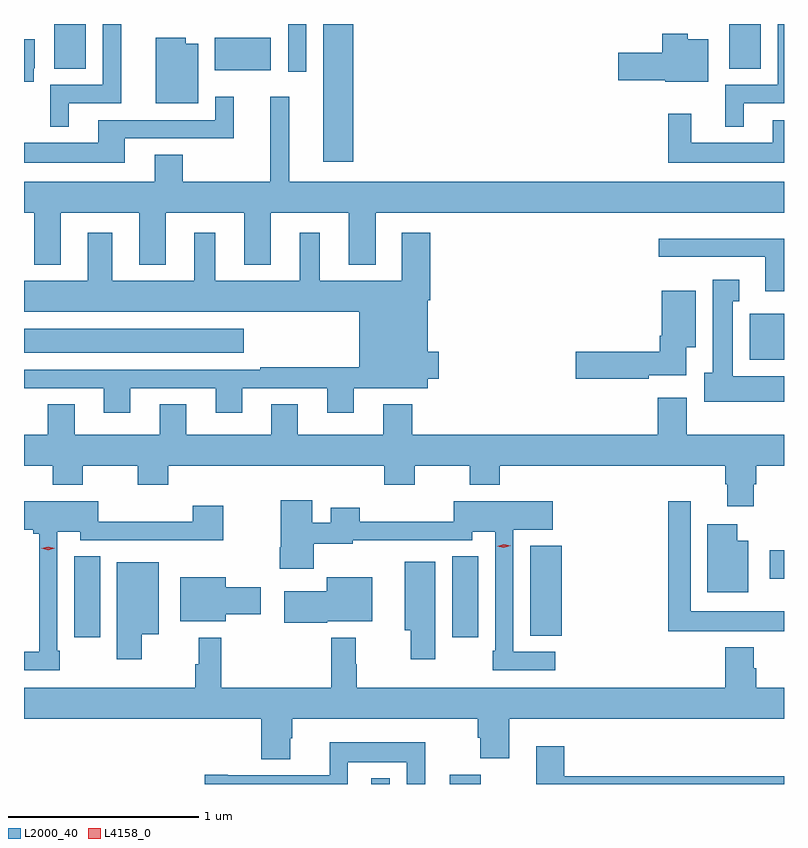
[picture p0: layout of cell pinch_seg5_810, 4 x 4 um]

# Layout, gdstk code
import gdstk
lib = gdstk.Library(unit=1e-6, precision=1e-09)
def R(c, l, rs):  # rectangles x0, y0, x1, y1
    for r in rs: c.add(gdstk.rectangle(r[:2], r[2:], *l))
def P(c, l, *ps):  # polygons
    for p in ps: c.add(gdstk.Polygon(p, *l))
L2000_40 = (2000, 40)
L4158_0 = (4158, 0)

pinch_seg5_810 = lib.new_cell('pinch_seg5_810')
R(pinch_seg5_810, L2000_40, [(768.321,884.389,768.417,884.419), (768.734,884.389,768.898,884.439), (766.757,885.162,766.894,885.587), (768.746,885.162,768.883,885.587), (769.157,885.169,769.324,885.643), (770.417,885.47,770.493,885.618), (770.312,886.622,770.493,886.864), (766.493,886.658,767.65,886.786), (768.068,887.664,768.227,888.389), (767.883,888.138,767.979,888.389), (767.498,888.146,767.791,888.316), (766.652,888.154,766.819,888.389), (770.204,888.154,770.371,888.389)])
P(pinch_seg5_810, L2000_40, [(770.281,887.973),(770.493,887.973),(770.493,888.389),(770.46,888.389),(770.46,888.069),(770.183,888.069),(770.183,887.849),(770.281,887.849)],
  [(766.729,887.973),(767.006,887.973),(767.006,888.389),(766.908,888.389),(766.908,888.069),(766.631,888.069),(766.631,887.849),(766.729,887.849)],
  [(770.095,888.31),(769.986,888.31),(769.986,888.337),(769.853,888.337),(769.853,888.239),(769.62,888.239),(769.62,888.092),(769.869,888.092),(769.869,888.086),(770.095,888.086)],
  [(767.41,888.286),(767.344,888.286),(767.344,888.316),(767.186,888.316),(767.186,887.972),(767.41,887.972)],
  [(766.543,888.156),(766.549,888.156),(766.549,888.31),(766.493,888.31),(766.493,888.086),(766.543,888.086)],
  [(767.023,887.787),(767.597,887.787),(767.597,888.007),(767.499,888.007),(767.499,887.883),(766.883,887.883),(766.883,887.764),(766.493,887.764),(766.493,887.66),(767.023,887.66)],
  [(766.687,887.396),(767.099,887.396),(767.099,887.123),(767.239,887.123),(767.239,887.396),(767.651,887.396),(767.651,887.123),(767.791,887.123),(767.791,887.396),(768.203,887.396),(768.203,887.123),(768.343,887.123),(768.343,887.396),(770.493,887.396),(770.493,887.56),(767.888,887.56),(767.888,888.007),(767.789,888.007),(767.789,887.56),(767.328,887.56),(767.328,887.702),(767.18,887.702),(767.18,887.56),(766.493,887.56),(766.493,887.396),(766.547,887.396),(766.547,887.123),(766.687,887.123)],
  [(770.493,887.883),(770.435,887.883),(770.435,887.764),(770.005,887.764),(770.005,887.917),(769.884,887.917),(769.884,887.66),(770.493,887.66)],
  [(767.053,886.473),(767.501,886.473),(767.501,886.344),(767.641,886.344),(767.641,886.473),(768.089,886.473),(768.089,886.344),(768.229,886.344),(768.229,886.472),(768.619,886.472),(768.619,886.522),(768.676,886.522),(768.676,886.664),(768.619,886.664),(768.619,886.934),(768.632,886.934),(768.632,887.29),(768.482,887.29),(768.482,887.038),(768.049,887.038),(768.049,887.29),(767.945,887.29),(767.945,887.038),(767.5,887.038),(767.5,887.29),(767.39,887.29),(767.39,887.038),(766.957,887.038),(766.957,887.29),(766.829,887.29),(766.829,887.038),(766.493,887.038),(766.493,886.874),(768.257,886.874),(768.257,886.582),(767.737,886.582),(767.737,886.569),(766.493,886.569),(766.493,886.473),(766.913,886.473),(766.913,886.344),(767.053,886.344)],
  [(770.493,887.26),(769.833,887.26),(769.833,887.163),(770.393,887.163),(770.393,886.982),(770.493,886.982)],
  [(770.493,886.534),(770.224,886.534),(770.224,886.931),(770.257,886.931),(770.257,887.044),(770.117,887.044),(770.117,886.554),(770.072,886.554),(770.072,886.4),(770.493,886.4)],
  [(769.782,886.541),(769.978,886.541),(769.978,886.688),(770.029,886.688),(770.029,886.984),(769.85,886.984),(769.85,886.747),(769.838,886.747),(769.838,886.664),(769.398,886.664),(769.398,886.522),(769.782,886.522)],
  [(770.335,885.966),(770.348,885.966),(770.348,886.064),(770.493,886.064),(770.493,886.228),(769.981,886.228),(769.981,886.423),(769.829,886.423),(769.829,886.228),(768.536,886.228),(768.536,886.387),(768.383,886.387),(768.383,886.228),(767.935,886.228),(767.935,886.388),(767.795,886.388),(767.795,886.228),(767.347,886.228),(767.347,886.388),(767.207,886.388),(767.207,886.228),(766.759,886.228),(766.759,886.388),(766.619,886.388),(766.619,886.228),(766.493,886.228),(766.493,886.064),(766.643,886.064),(766.643,885.965),(766.803,885.965),(766.803,886.064),(767.092,886.064),(767.092,885.965),(767.252,885.965),(767.252,886.064),(768.389,886.064),(768.389,885.965),(768.549,885.965),(768.549,886.064),(768.838,886.064),(768.838,885.965),(768.998,885.965),(768.998,886.064),(770.183,886.064),(770.183,885.966),(770.195,885.966),(770.195,885.852),(770.335,885.852)],
  [(769.288,885.084),(769.068,885.084),(769.068,885.728),(769.276,885.728),(769.276,885.877),(768.756,885.877),(768.756,885.77),(768.26,885.77),(768.26,885.844),(768.107,885.844),(768.107,885.763),(768.01,885.763),(768.01,885.883),(767.845,885.883),(767.845,885.634),(767.84,885.634),(767.84,885.522),(768.018,885.522),(768.018,885.653),(768.222,885.653),(768.222,885.672),(768.852,885.672),(768.852,885.716),(768.972,885.716),(768.972,885.091),(768.96,885.091),(768.96,884.988),(769.288,884.988)],
  [(770.008,885.194),(770.493,885.194),(770.493,885.298),(770.001,885.298),(770.001,885.877),(769.885,885.877),(769.885,885.192),(770.008,885.192)],
  [(766.681,885.091),(766.668,885.091),(766.668,885.716),(766.788,885.716),(766.788,885.672),(767.299,885.672),(767.299,885.671),(767.541,885.671),(767.541,885.853),(767.381,885.853),(767.381,885.77),(766.884,885.77),(766.884,885.877),(766.493,885.877),(766.493,885.728),(766.542,885.728),(766.542,885.707),(766.572,885.707),(766.572,885.084),(766.493,885.084),(766.493,884.988),(766.681,884.988)],
  [(770.305,885.67),(770.248,885.67),(770.248,885.757),(770.09,885.757),(770.09,885.398),(770.305,885.398)],
  [(768.658,885.559),(768.497,885.559),(768.497,885.197),(768.529,885.197),(768.529,885.045),(768.658,885.045)],
  [(767.112,885.176),(767.203,885.176),(767.203,885.556),(766.982,885.556),(766.982,885.045),(767.112,885.045)],
  [(767.554,885.283),(767.74,885.283),(767.74,885.425),(767.554,885.425),(767.554,885.478),(767.315,885.478),(767.315,885.245),(767.554,885.245)],
  [(768.09,885.245),(768.325,885.245),(768.325,885.478),(768.086,885.478),(768.086,885.403),(767.862,885.403),(767.862,885.238),(768.09,885.238)],
  [(767.893,884.631),(767.906,884.631),(767.906,884.732),(768.881,884.732),(768.881,884.633),(768.893,884.633),(768.893,884.524),(769.046,884.524),(769.046,884.732),(770.493,884.732),(770.493,884.896),(770.348,884.896),(770.348,884.997),(770.335,884.997),(770.335,885.109),(770.183,885.109),(770.183,884.896),(768.245,884.896),(768.245,885.02),(768.238,885.02),(768.238,885.16),(768.11,885.16),(768.11,884.896),(767.531,884.896),(767.531,885.16),(767.414,885.16),(767.414,885.02),(767.395,885.02),(767.395,884.896),(766.493,884.896),(766.493,884.732),(767.741,884.732),(767.741,884.519),(767.893,884.519)],
  [(768.198,884.504),(768.507,884.504),(768.507,884.389),(768.604,884.389),(768.604,884.608),(768.101,884.608),(768.101,884.434),(767.566,884.434),(767.566,884.437),(767.443,884.437),(767.443,884.389),(768.198,884.389)],
  [(770.493,884.431),(769.337,884.431),(769.337,884.587),(769.19,884.587),(769.19,884.389),(770.493,884.389)])
P(pinch_seg5_810, L4158_0, [(766.62,885.619),(766.585,885.629),(766.585,885.629),(766.585,885.63),(766.62,885.639),(766.656,885.63),(766.656,885.629),(766.656,885.629)],
  [(769.019,885.632),(768.984,885.641),(768.984,885.641),(768.984,885.641),(769.019,885.652),(769.054,885.643),(769.054,885.642),(769.054,885.642)])

lib.write_gds('pinch_seg5_810.gds')
